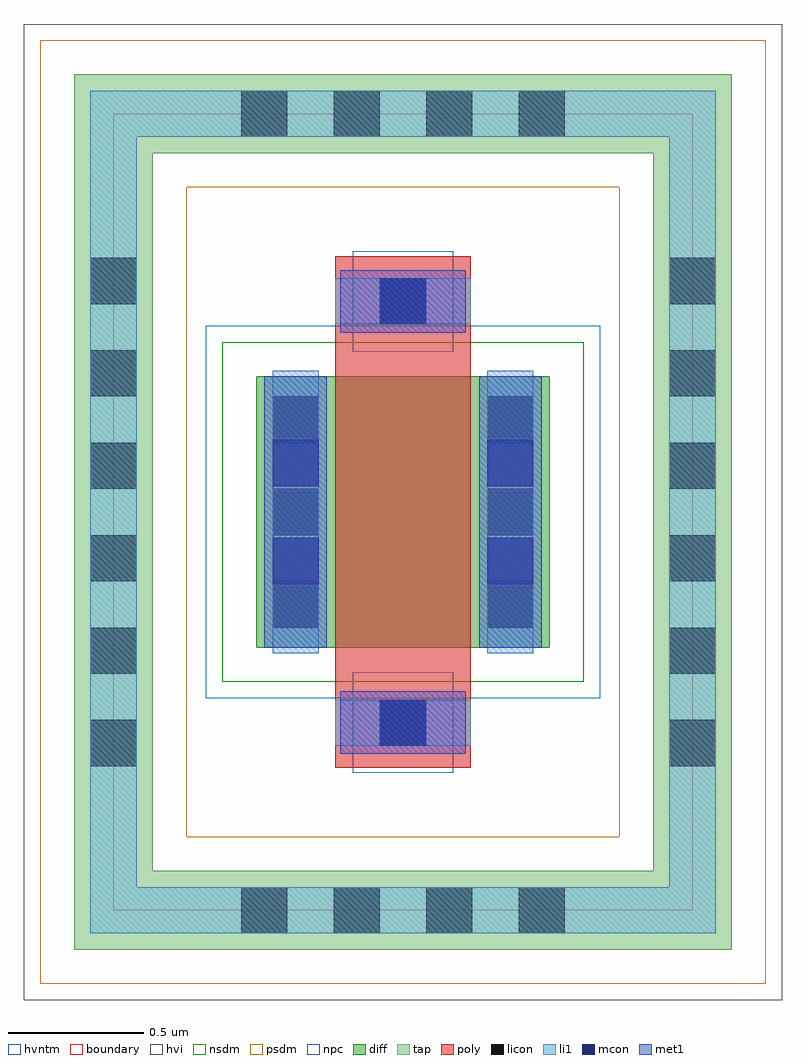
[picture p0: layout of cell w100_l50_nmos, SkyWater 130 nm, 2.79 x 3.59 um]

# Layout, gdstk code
import gdstk
lib = gdstk.Library(unit=1e-6, precision=1e-09)
def R(c, l, rs):  # rectangles x0, y0, x1, y1
    for r in rs: c.add(gdstk.rectangle(r[:2], r[2:], *l))
def A(c, l, x, y, w, h, nx, ny, dx, dy):  # array of equal rectangles
    R(c, l, [(x+i*dx, y+j*dy, x+i*dx+w, y+j*dy+h) for i in range(nx) for j in range(ny)])
diff = (65, 20)
tap = (65, 44)
poly = (66, 20)
licon = (66, 44)
li1 = (67, 20)
mcon = (67, 44)
met1 = (68, 20)
hvi = (75, 20)
nsdm = (93, 44)
psdm = (94, 20)
npc = (95, 20)
hvntm = (125, 20)
boundary = (235, 4)

sky130_fd_pr__nfet_g5v0d = lib.new_cell('sky130_fd_pr__nfet_g5v0d10v5')

w100_l50_nmos = lib.new_cell('w100_l50_nmos')
R(w100_l50_nmos, diff, [(-0.54,-0.5,0.54,0.5)])
R(w100_l50_nmos, tap, [(-1.21,-1.61,1.21,-1.32), (-1.21,-1.32,-0.92,1.32), (0.92,-1.32,1.21,1.32), (-1.21,1.32,1.21,1.61)])
R(w100_l50_nmos, poly, [(-0.25,-0.94,0.25,0.94)])
A(w100_l50_nmos, licon, -0.595, -1.55, 0.17, 0.17, 4, 2, 0.34, 2.93)
A(w100_l50_nmos, licon, -1.15, -0.935, 0.17, 0.17, 1, 6, 0, 0.34)
A(w100_l50_nmos, licon, 0.98, -0.935, 0.17, 0.17, 1, 6, 0, 0.34)
A(w100_l50_nmos, licon, -0.48, -0.425, 0.17, 0.17, 1, 3, 0, 0.34)
A(w100_l50_nmos, licon, 0.31, -0.425, 0.17, 0.17, 1, 3, 0, 0.34)
R(w100_l50_nmos, licon, [(-0.085,-0.86,0.085,-0.69), (-0.085,0.69,0.085,0.86)])
R(w100_l50_nmos, li1, [(-1.15,-1.55,1.15,-1.38), (-1.15,-1.38,-0.98,1.38), (0.98,-1.38,1.15,1.38), (-0.25,-0.86,0.25,-0.69), (-0.48,-0.52,-0.31,0.52), (0.31,-0.52,0.48,0.52), (-0.25,0.69,0.25,0.86), (-1.15,1.38,1.15,1.55)])
R(w100_l50_nmos, mcon, [(-0.085,-0.86,0.085,-0.69), (-0.48,-0.265,-0.31,-0.095), (0.31,-0.265,0.48,-0.095), (-0.48,0.095,-0.31,0.265), (0.31,0.095,0.48,0.265), (-0.085,0.69,0.085,0.86)])
R(w100_l50_nmos, met1, [(-0.23,-0.89,0.23,-0.66), (-0.51,-0.5,-0.28,0.5), (0.28,-0.5,0.51,0.5), (-0.23,0.66,0.23,0.89)])
R(w100_l50_nmos, hvi, [(-1.395,-1.795,1.395,1.795)])
R(w100_l50_nmos, nsdm, [(-0.665,-0.625,0.665,0.625)])
R(w100_l50_nmos, psdm, [(-1.335,-1.735,1.335,-1.195), (-1.335,-1.195,-0.795,1.195), (0.795,-1.195,1.335,1.195), (-1.335,1.195,1.335,1.735)])
R(w100_l50_nmos, npc, [(-0.185,-0.96,0.185,-0.59), (-0.185,0.59,0.185,0.96)])
R(w100_l50_nmos, hvntm, [(-0.725,-0.685,0.725,0.685)])
R(w100_l50_nmos, boundary, [(-1.065,-1.465,1.065,1.465)])
w100_l50_nmos.add(gdstk.Reference(sky130_fd_pr__nfet_g5v0d, (0,0)))

lib.write_gds('w100_l50_nmos.gds')
